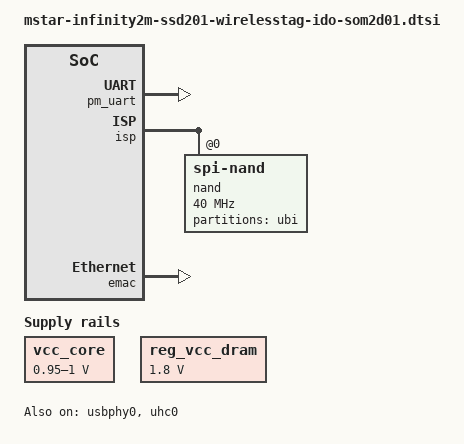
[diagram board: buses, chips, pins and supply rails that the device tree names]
// SPDX-License-Identifier: GPL-2.0-or-later OR MIT
/*
 * Copyright (c) 2021 thingy.jp.
 * Author: Daniel Palmer <daniel@thingy.jp>
 * Author: Romain Perier <romain.perier@gmail.com>
 */

/ {
	reg_vcc_dram: regulator-vcc-dram {
		compatible = "regulator-fixed";
		regulator-name = "vcc_dram";
		regulator-min-microvolt = <1800000>;
		regulator-max-microvolt = <1800000>;
		regulator-boot-on;
	};
};
	vcc_core: gpio-regulator {
		compatible = "regulator-gpio";
		regulator-name = "vcc_core";
		regulator-type = "voltage";
		regulator-min-microvolt = <950000>;
		regulator-max-microvolt = <1000000>;
		regulator-boot-on;
		gpios = <&sar 1 0>;
		states = <1000000 0x1
			  950000  0x0>;
	};
};

&cpu0 {
	cpu-supply = <&vcc_core>;
};

&pm_uart {
	status = "okay";
};

&isp {
	status = "okay";
	nand: nand@0 {
		#address-cells = <1>;
		#size-cells = <1>;
		compatible = "spi-nand";
		reg = <0>;
		spi-max-frequency = <40000000>;
		spi-rx-bus-width = <4>;
		partitions {
			compatible = "fixed-partitions";
			#address-cells = <1>;
			#size-cells = <1>;
			ubi@2c0000-0x000008000000 {
				label = "ubi";
				reg = <0x2c0000 0x7d40000>;
			};
		};
	};
};

&usbphy0 {
	status = "okay";
};

&uhc0 {
	status = "okay";
};

&emac {
	status = "okay";
};
